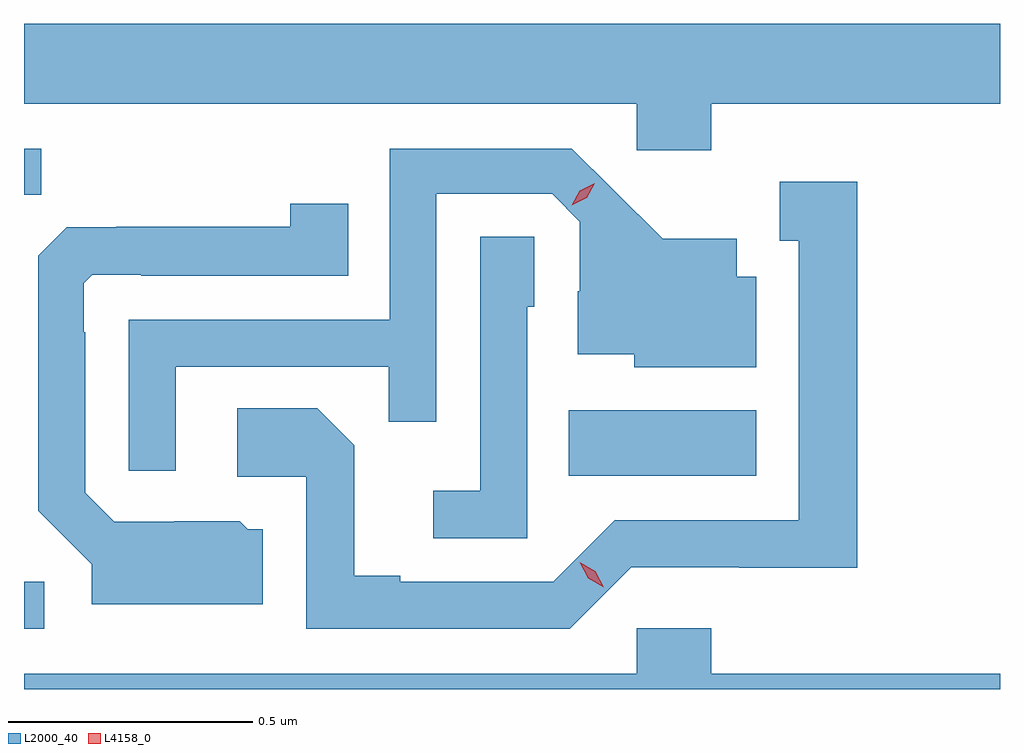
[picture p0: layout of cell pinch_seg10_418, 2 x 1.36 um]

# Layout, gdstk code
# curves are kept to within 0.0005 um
import gdstk
lib = gdstk.Library(unit=1e-6, precision=1e-09)
def R(c, l, rs):  # rectangles x0, y0, x1, y1
    for r in rs: c.add(gdstk.rectangle(r[:2], r[2:], *l))
def P(c, l, *ps):  # polygons
    for p in ps: c.add(gdstk.Polygon(p, *l))
L2000_40 = (2000, 40)
L4158_0 = (4158, 0)

pinch_seg10_418 = lib.new_cell('pinch_seg10_418')
R(pinch_seg10_418, L2000_40, [(581.14,1248.624,581.182,1248.72), (582.256,1248.938,582.64,1249.072), (581.14,1249.513,581.175,1249.608)])
P(pinch_seg10_418, L2000_40, [(582.548,1249.7),(583.14,1249.7),(583.14,1249.864),(581.14,1249.864),(581.14,1249.7),(582.396,1249.7),(582.396,1249.605),(582.548,1249.605)],
  [(581.451,1249.161),(581.887,1249.161),(581.887,1249.048),(581.985,1249.048),(581.985,1249.515),(582.222,1249.515),(582.279,1249.458),(582.279,1249.316),(582.275,1249.316),(582.275,1249.187),(582.39,1249.187),(582.39,1249.16),(582.64,1249.16),(582.64,1249.345),(582.601,1249.345),(582.601,1249.423),(582.449,1249.423),(582.262,1249.608),(581.889,1249.608),(581.889,1249.257),(581.355,1249.257),(581.355,1248.948),(581.451,1248.948)],
  [(582.384,1248.75),(582.606,1248.75),(582.606,1248.749),(582.847,1248.749),(582.847,1249.54),(582.689,1249.54),(582.689,1249.419),(582.728,1249.419),(582.728,1248.846),(582.351,1248.846),(582.225,1248.72),(581.911,1248.72),(581.911,1248.733),(581.817,1248.733),(581.817,1249),(581.741,1249.076),(581.577,1249.076),(581.577,1248.936),(581.718,1248.936),(581.718,1248.624),(582.258,1248.624)],
  [(581.629,1248.828),(581.598,1248.828),(581.582,1248.844),(581.448,1248.844),(581.448,1248.843),(581.325,1248.843),(581.265,1248.903),(581.265,1249.232),(581.262,1249.232),(581.262,1249.332),(581.28,1249.35),(581.38,1249.35),(581.38,1249.347),(581.804,1249.347),(581.804,1249.495),(581.686,1249.495),(581.686,1249.448),(581.329,1249.448),(581.329,1249.447),(581.228,1249.447),(581.169,1249.388),(581.169,1248.866),(581.279,1248.756),(581.279,1248.674),(581.629,1248.674)],
  [(582.171,1249.284),(582.186,1249.284),(582.186,1249.427),(582.075,1249.427),(582.075,1248.907),(581.979,1248.907),(581.979,1248.81),(582.171,1248.81)],
  [(583.14,1248.532),(582.548,1248.532),(582.548,1248.625),(582.396,1248.625),(582.396,1248.532),(581.14,1248.532),(581.14,1248.5),(583.14,1248.5)])
P(pinch_seg10_418, L4158_0, [(582.328,1248.709),(582.296,1248.728),(582.279,1248.76),(582.279,1248.76),(582.279,1248.76),(582.311,1248.742),(582.328,1248.709),(582.328,1248.709)],
  [(582.262,1249.492),(582.262,1249.492),(582.279,1249.522),(582.31,1249.537),(582.31,1249.537),(582.31,1249.537),(582.293,1249.507),(582.262,1249.492)])

lib.write_gds('pinch_seg10_418.gds')
